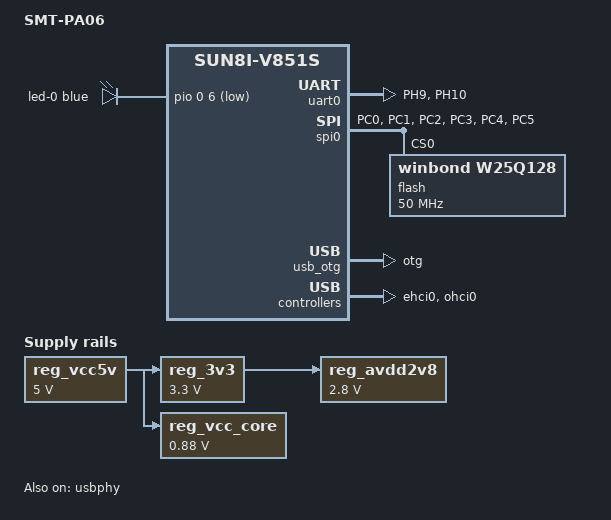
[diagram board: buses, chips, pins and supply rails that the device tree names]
// SPDX-License-Identifier: (GPL-2.0+ OR MIT)
// Copyright (C) 2022 Arm Ltd.

#define SOC_PERIPHERAL_IRQ(nr)		GIC_SPI nr

#include <dt-bindings/gpio/gpio.h>
#include <dt-bindings/leds/common.h>
#include <dt-bindings/interrupt-controller/irq.h>

/dts-v1/;

#include "sun8i-v851s.dtsi"

/ {
	model = "SMT-PA06";
	compatible = "smt,pa-06", "allwinner,sun8i-v851s";

	aliases {
		spi0 = &spi0;
		serial0 = &uart0;
	};

	chosen {
		stdout-path = "serial0:115200n8";
	};

	leds {
		compatible = "gpio-leds";

		led-0 {
			color = <LED_COLOR_ID_BLUE>;
			function = LED_FUNCTION_STATUS;
			gpios = <&pio 0 6 GPIO_ACTIVE_LOW>; /* PA06 */
		};
	};

	/* board wide 5V supply directly from the USB-C socket */
	reg_vcc5v: regulator-5v {
		compatible = "regulator-fixed";
		regulator-name = "vcc-5v";
		regulator-min-microvolt = <5000000>;
		regulator-max-microvolt = <5000000>;
		regulator-always-on;
	};

	/* SY8008 DC/DC regulator on the board */
	reg_3v3: regulator-3v3 {
		compatible = "regulator-fixed";
		regulator-name = "vcc-3v3";
		regulator-min-microvolt = <3300000>;
		regulator-max-microvolt = <3300000>;
		vin-supply = <&reg_vcc5v>;
	};

	/* SY8008 DC/DC regulator on the board, also supplying VDD-SYS */
	reg_vcc_core: regulator-core {
		compatible = "regulator-fixed";
		regulator-name = "vcc-core";
		regulator-min-microvolt = <880000>;
		regulator-max-microvolt = <880000>;
		vin-supply = <&reg_vcc5v>;
	};

	/* XC6206 LDO on the board */
	reg_avdd2v8: regulator-avdd {
		compatible = "regulator-fixed";
		regulator-name = "avdd2v8";
		regulator-min-microvolt = <2800000>;
		regulator-max-microvolt = <2800000>;
		vin-supply = <&reg_3v3>;
	};
};

&dcxo {
	clock-frequency = <24000000>;
};

&cpu0 {
	cpu-supply = <&reg_vcc_core>;
};

&pio {
	vcc-pb-supply = <&reg_3v3>;
	vcc-pd-supply = <&reg_3v3>;
	vcc-pe-supply = <&reg_avdd2v8>;
	vcc-pf-supply = <&reg_3v3>;
	vcc-pg-supply = <&reg_3v3>;

	uart0_ph_pins: uart0-ph-pins {
		pins = "PH9", "PH10";
		function = "uart0";
	};

	spi0_pc_pins: spi0-pc-pins {
		pins = "PC0", "PC1", "PC2", "PC3", "PC4", "PC5";
		function = "spi0";
	};
};

&uart0 {
	pinctrl-names = "default";
	pinctrl-0 = <&uart0_ph_pins>;
	status = "okay";
};

&spi0 {
	pinctrl-names = "default";
	pinctrl-0 = <&spi0_pc_pins>;
	status = "okay";

	flash@0 {
		#address-cells = <1>;
		#size-cells = <1>;
		compatible = "winbond,w25q128", "jedec,spi-nor";
		reg = <0>;
		spi-max-frequency = <50000000>;
	};
};

&usb_otg {
	dr_mode = "otg";
	status = "okay";
};

&usbphy {
	usb0_vbus-supply = <&reg_vcc5v>;
	status = "okay";
};

&ehci0 {
	status = "okay";
};

&ohci0 {
	status = "okay";
};
